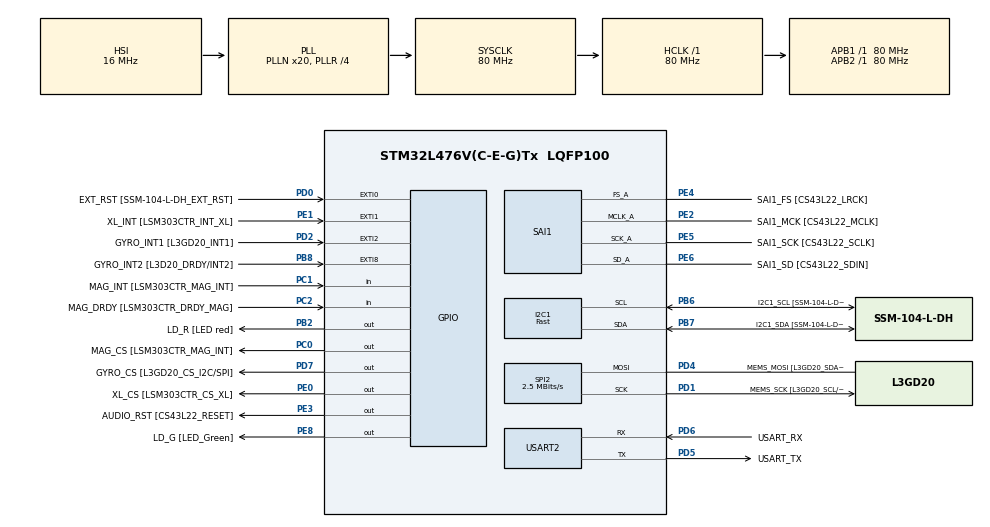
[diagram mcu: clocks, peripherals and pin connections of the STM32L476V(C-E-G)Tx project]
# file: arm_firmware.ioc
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Dma.Request0=SAI1_A
Dma.SAI1_A.0.Direction=DMA_MEMORY_TO_PERIPH
Dma.SAI1_A.0.Instance=DMA2_Channel1
Dma.SAI1_A.0.MemDataAlignment=DMA_MDATAALIGN_HALFWORD
Dma.SAI1_A.0.MemInc=DMA_MINC_ENABLE
Dma.SAI1_A.0.Mode=DMA_NORMAL
Dma.SAI1_A.0.PeriphDataAlignment=DMA_PDATAALIGN_HALFWORD
Dma.SAI1_A.0.PeriphInc=DMA_PINC_DISABLE
Dma.SAI1_A.0.Priority=DMA_PRIORITY_HIGH
I2C1.I2C_Speed_Mode=I2C_Fast
I2C1.Timing=0x00702991
Mcu.Family=STM32L4
Mcu.Name=STM32L476V(C-E-G)Tx
Mcu.Package=LQFP100
NVIC.DMA2_Channel1_IRQn=true\:0\:0\:false\:false\:true\:false
NVIC.PriorityGroup=NVIC_PRIORITYGROUP_4
NVIC.SAI1_IRQn=true\:0\:0\:false\:false\:true\:true
NVIC.USART2_IRQn=true\:0\:0\:false\:false\:true\:true
PA13\ (JTMS-SWDIO).GPIO_Label=SWDIO
PA13\ (JTMS-SWDIO).Mode=Serial_Wire
PA13\ (JTMS-SWDIO).Signal=SYS_JTMS-SWDIO
PA14\ (JTCK-SWCLK).GPIO_Label=SWCLK
PA14\ (JTCK-SWCLK).Mode=Serial_Wire
PA14\ (JTCK-SWCLK).Signal=SYS_JTCK-SWCLK
PB2.GPIO_Label=LD_R [LED red]
PB2.GPIO_ModeDefaultOutputPP=GPIO_MODE_OUTPUT_PP
PB2.GPIO_PuPd=GPIO_PULLUP
PB2.GPIO_Speed=GPIO_SPEED_FREQ_VERY_HIGH
PB2.Signal=GPIO_Output
PB6.GPIO_FM6=__NULL
PB6.GPIO_Label=I2C1_SCL [SSM-104-L-DH_SCL]
PB6.GPIO_Mode=GPIO_MODE_AF_OD
PB6.GPIO_PuPdOD=GPIO_PULLUP
PB6.GPIO_Speed=GPIO_SPEED_FREQ_VERY_HIGH
PB6.Mode=I2C
PB6.Signal=I2C1_SCL
PB7.GPIO_FM7=__NULL
PB7.GPIO_Label=I2C1_SDA [SSM-104-L-DH_SDA]
PB7.GPIO_Mode=GPIO_MODE_AF_OD
PB7.GPIO_PuPdOD=GPIO_PULLUP
PB7.GPIO_Speed=GPIO_SPEED_FREQ_VERY_HIGH
PB7.Mode=I2C
PB7.Signal=I2C1_SDA
PB8.GPIO_Label=GYRO_INT2 [L3D20_DRDY/INT2]
PB8.GPIO_ModeDefaultEXTI=GPIO_MODE_EVT_RISING
PB8.GPIO_PuPd=GPIO_NOPULL
PB8.Signal=GPXTI8
PC0.GPIO_Label=MAG_CS [LSM303CTR_MAG_INT]
PC0.GPIO_Speed=GPIO_SPEED_FREQ_VERY_HIGH
PC0.PinState=GPIO_PIN_SET
PC0.Signal=GPIO_Output
PC1.GPIO_Label=MAG_INT [LSM303CTR_MAG_INT]
PC1.GPIO_Mode=GPIO_MODE_INPUT
PC1.GPIO_PuPd=GPIO_NOPULL
PC1.Signal=GPIO_Input
PC2.GPIO_Label=MAG_DRDY [LSM303CTR_DRDY_MAG]
PC2.GPIO_Mode=GPIO_MODE_INPUT
PC2.GPIO_PuPd=GPIO_NOPULL
PC2.Signal=GPIO_Input
PD0.GPIO_Label=EXT_RST [SSM-104-L-DH_EXT_RST]
PD0.GPIO_ModeDefaultEXTI=GPIO_MODE_EVT_RISING
PD0.GPIO_PuPd=GPIO_NOPULL
PD0.Signal=GPXTI0
PD1.GPIO_Label=MEMS_SCK [L3GD20_SCL/SPC]
PD1.GPIO_Mode=GPIO_MODE_AF_PP
PD1.GPIO_PuPd=GPIO_NOPULL
PD1.GPIO_Speed=GPIO_SPEED_FREQ_VERY_HIGH
PD1.Mode=Simplex_Bidirectional_Master
PD1.Signal=SPI2_SCK
PD2.GPIO_Label=GYRO_INT1 [L3GD20_INT1]
PD2.GPIO_ModeDefaultEXTI=GPIO_MODE_EVT_RISING
PD2.GPIO_PuPd=GPIO_NOPULL
PD2.Signal=GPXTI2
PD3.GPIO_Label=MEMS_MISO [L3GD20_SA0/SDO]
PD3.GPIO_Mode=GPIO_MODE_AF_PP
PD3.GPIO_PuPd=GPIO_NOPULL
PD3.GPIO_Speed=GPIO_SPEED_FREQ_VERY_HIGH
PD3.Signal=SPI2_MISO
PD4.GPIO_Label=MEMS_MOSI [L3GD20_SDA/SDI/SDO]
PD4.GPIO_Mode=GPIO_MODE_AF_PP
PD4.GPIO_PuPd=GPIO_NOPULL
PD4.GPIO_Speed=GPIO_SPEED_FREQ_VERY_HIGH
PD4.Mode=Simplex_Bidirectional_Master
PD4.Signal=SPI2_MOSI
PD5.GPIO_Label=USART_TX
PD5.GPIO_Mode=GPIO_MODE_AF_PP
PD5.GPIO_PuPd=GPIO_PULLUP
PD5.GPIO_Speed=GPIO_SPEED_FREQ_VERY_HIGH
PD5.Mode=Asynchronous
PD5.Signal=USART2_TX
PD6.GPIO_Label=USART_RX
PD6.GPIO_Mode=GPIO_MODE_AF_PP
PD6.GPIO_PuPd=GPIO_PULLUP
PD6.GPIO_Speed=GPIO_SPEED_FREQ_VERY_HIGH
PD6.Mode=Asynchronous
PD6.Signal=USART2_RX
PD7.GPIO_Label=GYRO_CS [L3GD20_CS_I2C/SPI]
PD7.GPIO_ModeDefaultOutputPP=GPIO_MODE_OUTPUT_PP
PD7.GPIO_PuPd=GPIO_NOPULL
PD7.GPIO_Speed=GPIO_SPEED_FREQ_VERY_HIGH
PD7.PinState=GPIO_PIN_SET
PD7.Signal=GPIO_Output
PE0.GPIO_Label=XL_CS [LSM303CTR_CS_XL]
PE0.GPIO_ModeDefaultOutputPP=GPIO_MODE_OUTPUT_PP
PE0.GPIO_PuPd=GPIO_NOPULL
PE0.GPIO_Speed=GPIO_SPEED_FREQ_VERY_HIGH
PE0.PinState=GPIO_PIN_SET
PE0.Signal=GPIO_Output
PE1.GPIO_Label=XL_INT [LSM303CTR_INT_XL]
PE1.GPIO_ModeDefaultEXTI=GPIO_MODE_EVT_RISING
PE1.GPIO_PuPd=GPIO_NOPULL
PE1.Signal=GPXTI1
PE2.GPIO_Label=SAI1_MCK [CS43L22_MCLK]
PE2.GPIO_Mode=GPIO_MODE_AF_PP
PE2.GPIO_PuPd=GPIO_NOPULL
PE2.GPIO_Speed=GPIO_SPEED_FREQ_VERY_HIGH
PE2.Mode=SAI_A_MasterWithClock
PE2.Signal=SAI1_MCLK_A
PE3.GPIO_Label=AUDIO_RST [CS43L22_RESET]
PE3.GPIO_ModeDefaultOutputPP=GPIO_MODE_OUTPUT_PP
PE3.GPIO_PuPd=GPIO_NOPULL
PE3.GPIO_Speed=GPIO_SPEED_FREQ_HIGH
PE3.Signal=GPIO_Output
PE4.GPIO_Label=SAI1_FS [CS43L22_LRCK]
PE4.GPIO_Mode=GPIO_MODE_AF_PP
PE4.GPIO_PuPd=GPIO_NOPULL
PE4.GPIO_Speed=GPIO_SPEED_FREQ_VERY_HIGH
PE4.Mode=SAI_A_MasterWithClock
PE4.Signal=SAI1_FS_A
PE5.GPIO_Label=SAI1_SCK [CS43L22_SCLK]
PE5.GPIO_Mode=GPIO_MODE_AF_PP
PE5.GPIO_PuPd=GPIO_NOPULL
PE5.GPIO_Speed=GPIO_SPEED_FREQ_VERY_HIGH
PE5.Mode=SAI_A_MasterWithClock
PE5.Signal=SAI1_SCK_A
PE6.GPIO_Label=SAI1_SD [CS43L22_SDIN]
PE6.GPIO_Mode=GPIO_MODE_AF_PP
PE6.GPIO_PuPd=GPIO_NOPULL
PE6.GPIO_Speed=GPIO_SPEED_FREQ_VERY_HIGH
PE6.Mode=SAI_A_MasterWithClock
PE6.Signal=SAI1_SD_A
PE8.GPIO_Label=LD_G [LED_Green]
PE8.GPIO_ModeDefaultOutputPP=GPIO_MODE_OUTPUT_PP
PE8.GPIO_PuPd=GPIO_PULLUP
PE8.GPIO_Speed=GPIO_SPEED_FREQ_VERY_HIGH
PE8.Signal=GPIO_Output
ProjectManager.HeapSize=0x200
ProjectManager.StackSize=0x400
ProjectManager.TargetToolchain=SW4STM32
RCC.ADCFreq_Value=64000000
RCC.AHBFreq_Value=80000000
RCC.APB1Freq_Value=80000000
RCC.APB1TimFreq_Value=80000000
RCC.APB2Freq_Value=80000000
RCC.APB2TimFreq_Value=80000000
RCC.CortexFreq_Value=80000000
RCC.HCLKFreq_Value=80000000
RCC.HSE_VALUE=8000000
RCC.HSI_VALUE=16000000
RCC.LSE_VALUE=32768
RCC.MSI_VALUE=4000000
RCC.PLLN=20
RCC.PLLR=RCC_PLLR_DIV4
RCC.PLLSourceVirtual=RCC_PLLSOURCE_HSI
RCC.PREFETCH_ENABLE=1
RCC.SYSCLKFreq_VALUE=80000000
RCC.SYSCLKSource=RCC_SYSCLKSOURCE_PLLCLK
RCC.USBFreq_Value=64000000
RCC.VCOOutputFreq_Value=320000000
SAI1.AudioFrequency-SAI_A_MasterWithClock=SAI_AUDIO_FREQUENCY_8K
SAI1.DataSize-SAI_A_MasterWithClock=SAI_DATASIZE_24
SAI1.ErrorAudioFreq-SAI_A_MasterWithClock=11.6 %
SAI1.FrameLength-SAI_A_MasterWithClock=8
SAI1.Instance-SAI_A_MasterWithClock=SAI$Index_Block_A
SAI1.MClockEnable-SAI_A_MasterWithClock=SAI_MASTERCLOCK_ENABLE
SAI1.RealAudioFreq-SAI_A_MasterWithClock=8.928 KHz
SAI1.SlotActive-SAI_A_MasterWithClock=0x0000FFFF
SAI1.SlotSize-SAI_A_MasterWithClock=SAI_SLOTSIZE_DATASIZE
SAI1.Synchro-SAI_A_MasterWithClock=SAI_ASYNCHRONOUS
SAI1.VirtualMode-SAI_A_MasterWithClock=VM_MASTER
SAI1.VirtualSlotActive-SAI_A_MasterWithClock=SAI_SLOTACTIVE_ALL
SAI1.VirtualSlotActive0-SAI_A_MasterWithClock=true
SPI2.BaudRatePrescaler=SPI_BAUDRATEPRESCALER_32
SPI2.CalculateBaudRate=2.5 MBits/s
SPI2.Direction=SPI_DIRECTION_1LINE
SPI2.Mode=SPI_MODE_MASTER
SPI2.VirtualType=VM_MASTER
USART2.VirtualMode-Asynchronous=VM_ASYNC
USART2.WordLength=WORDLENGTH_8B
VP_DFSDM1_VS_IN0.Mode=Parallel_Input_ch0
VP_DFSDM1_VS_IN1.Mode=Parallel_Input_ch1
VP_DFSDM1_VS_IN2.Mode=Parallel_Input_ch2
board=STM32L476G-DISCO

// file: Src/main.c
/**
  ******************************************************************************
  * @file           : main.c
  * @brief          : Main program body
  ******************************************************************************
  ** This notice applies to any and all portions of this file
  * that are not between comment pairs USER CODE BEGIN and
  * USER CODE END. Other portions of this file, whether
  * inserted by the user or by software development tools
  * are owned by their respective copyright owners.
  *
  * COPYRIGHT(c) 2018 STMicroelectronics
  *
  * Redistribution and use in source and binary forms, with or without modification,
  * are permitted provided that the following conditions are met:
  *   1. Redistributions of source code must retain the above copyright notice,
  *      this list of conditions and the following disclaimer.
  *   2. Redistributions in binary form must reproduce the above copyright notice,
  *      this list of conditions and the following disclaimer in the documentation
  *      and/or other materials provided with the distribution.
  *   3. Neither the name of STMicroelectronics nor the names of its contributors
  *      may be used to endorse or promote products derived from this software
  *      without specific prior written permission.
  *
  * THIS SOFTWARE IS PROVIDED BY THE COPYRIGHT HOLDERS AND CONTRIBUTORS "AS IS"
  * AND ANY EXPRESS OR IMPLIED WARRANTIES, INCLUDING, BUT NOT LIMITED TO, THE
  * IMPLIED WARRANTIES OF MERCHANTABILITY AND FITNESS FOR A PARTICULAR PURPOSE ARE
  * DISCLAIMED. IN NO EVENT SHALL THE COPYRIGHT HOLDER OR CONTRIBUTORS BE LIABLE
  * FOR ANY DIRECT, INDIRECT, INCIDENTAL, SPECIAL, EXEMPLARY, OR CONSEQUENTIAL
  * DAMAGES (INCLUDING, BUT NOT LIMITED TO, PROCUREMENT OF SUBSTITUTE GOODS OR
  * SERVICES; LOSS OF USE, DATA, OR PROFITS; OR BUSINESS INTERRUPTION) HOWEVER
  * CAUSED AND ON ANY THEORY OF LIABILITY, WHETHER IN CONTRACT, STRICT LIABILITY,
  * OR TORT (INCLUDING NEGLIGENCE OR OTHERWISE) ARISING IN ANY WAY OUT OF THE USE
  * OF THIS SOFTWARE, EVEN IF ADVISED OF THE POSSIBILITY OF SUCH DAMAGE.
  *
  ******************************************************************************
  */
#include "main.h"
#include "stm32l4xx_hal.h"
#include "dfsdm.h"
#include "dma.h"
#include "i2c.h"
#include "sai.h"
#include "spi.h"
#include "usart.h"
#include "gpio.h"

/* USER CODE BEGIN Includes */
#include "gyros.h"
#include "accel.h"

#include "stm32l476g_discovery_gyroscope.h"
#include "stm32l476g_discovery_compass.h"
#include "stm32l476g_discovery_audio.h"

#include "math.h"
#include "sample.h"

#define BASE_FREQ 400.0f
/* USER CODE END Includes */

/* USER CODE BEGIN PV */
/* Private variables ---------------------------------------------------------*/
uint8_t Received[10];
int32_t RemainingAudioSamplesNb;
volatile uint16_t * frameData, *genData;
uint16_t buffor1[800], buffor2[800];
volatile float cc = 0.0;
volatile uint8_t audioFlag = 0;

/* USER CODE END PV */

void SystemClock_Config(void);

/* USER CODE BEGIN PFP */
/* Private function prototypes -----------------------------------------------*/
void AudioPlay_TransferComplete_CallBack() {
	if (audioFlag == 1) {
		if (frameData == buffor1) {
			frameData = buffor2;
		} else {
			frameData = buffor1;
		}
		audioFlag = 0;
	}

//	if(cc > 2.0){
//				frameData = light_saber_sample_move;
//
//			}else{
//				frameData = light_saber_sample_idle;
//
//			}

	if (BSP_AUDIO_OUT_Play(frameData, RemainingAudioSamplesNb) != AUDIO_OK) {
		HAL_GPIO_WritePin(LD_R_GPIO_Port, LD_R_Pin, SET);
		Error_Handler();
	} else {
		HAL_GPIO_TogglePin(LD_G_GPIO_Port, LD_G_Pin);
	}

}
void AudioPlay_Error_CallBack(void) {
	/* Stop the program with an infinite loop */
	HAL_GPIO_WritePin(LD_R_GPIO_Port, LD_R_Pin, SET);
	Error_Handler();
}

/* USER CODE END PFP */

int main(void)
{
  /* USER CODE BEGIN 1 */
	float sampleRate = 8000.0; // hertz
	float freq = BASE_FREQ;         // hertz
	float duration = 0.1;       // seconds

	/* Gyroscope variables */
	uint8_t message[100], characters_count;
	int16_t buffer[3];
	float x, y, z;
	float nSamples = (duration * sampleRate);
	uint16_t i;
	uint8_t wiadom[100];
	uint8_t char_count;
	int16_t buffa[3] = { 0 };
	float buffg[3] = { 0 };
	float xa, ya, za, va = 0.0, xaa = 0.0, yaa = 0.0, zaa = 0.0;
	float xg, yg, zg;
	uint32_t interval = 0, prev = 0, current = 0;

	frameData = buffor1;
	//frameData = light_saber_sample;
  /* USER CODE END 1 */

  /* MCU Configuration----------------------------------------------------------*/

  /* Reset of all peripherals, Initializes the Flash interface and the Systick. */
  HAL_Init();

  /* Configure the system clock */
  SystemClock_Config();

  /* Initialize all configured peripherals */
  MX_GPIO_Init();
  MX_DMA_Init();
  MX_SAI1_Init();
  MX_I2C1_Init();
  MX_SPI2_Init();
  MX_USART2_UART_Init();
  MX_DFSDM1_Init();
  /* USER CODE BEGIN 2 */
	HAL_GPIO_WritePin(LD_G_GPIO_Port, LD_G_Pin, RESET);
	HAL_GPIO_WritePin(LD_R_GPIO_Port, LD_R_Pin, RESET);

	for (i = 0; i < (uint32_t) nSamples; ++i) {
		buffor1[i] = (uint16_t) ((sin(
				freq * (float) i * 6.28 / sampleRate) + 1.0) * 32000);
	}

	if (ZYROS_Init() != Zyros_ok) {
		HAL_GPIO_WritePin(LD_R_GPIO_Port, LD_R_Pin, SET);
		/* Initialization Error */
		Error_Handler();
	}

	if (AKCEL_Init() != Akcel_ok) {
		HAL_GPIO_WritePin(LD_R_GPIO_Port, LD_R_Pin, SET);
		/* Initialization Error */
		Error_Handler();
	}

	RemainingAudioSamplesNb = 800; //sizeof(light_saber_sample)/sizeof(uint16_t); //1600;//(uint32_t)nSamples;
	HAL_GPIO_WritePin(LD_R_GPIO_Port, LD_R_Pin, RESET);
	if (BSP_AUDIO_OUT_Init(OUTPUT_DEVICE_HEADPHONE, 60, 8000) != AUDIO_OK) {
		HAL_GPIO_WritePin(LD_R_GPIO_Port, LD_R_Pin, SET);
		Error_Handler();       //dajemy sygnal error
	}

	BSP_AUDIO_OUT_RegisterCallbacks(AudioPlay_Error_CallBack,
	NULL, AudioPlay_TransferComplete_CallBack);

	if (BSP_AUDIO_OUT_Play(frameData, RemainingAudioSamplesNb) != AUDIO_OK) {
		HAL_GPIO_WritePin(LD_R_GPIO_Port, LD_R_Pin, SET);

		Error_Handler();
	}

  /* USER CODE END 2 */

  /* Infinite loop */
	while (1) {

  /* USER CODE BEGIN 3 */
		AKCEL_GetXYZ(buffa);
		xa = ((float) buffa[0] /4096.0);
		ya = ((float) buffa[1] /4096.0);
		za = ((float) buffa[2] /4096.0);

		char_count = sprintf((char *) wiadom, "Xa: %f Ya: %f Za: %f\n", xa, ya,
				za);
		HAL_UART_Transmit(&huart2, wiadom, char_count, 0xFFFF);

		ZYROS_GetXYZ(buffg);
		xg = ((float) buffg[0] * 0.244 / 1000.0);
		yg = ((float) buffg[1] * 0.244 / 1000.0);
		zg = ((float) buffg[2] * 0.244 / 1000.0);

		char_count = sprintf((char *) wiadom, "Xg: %f Yg: %f Zg: %f\n", xg, yg,
				zg);
		HAL_UART_Transmit(&huart2, wiadom, char_count, 0xFFFF);

		current = HAL_GetTick();
					interval = current - prev;
					prev = current;
		xaa += xa * ((float)interval / 1000.0);
		yaa += ya * ((float)interval/ 1000.0);
		zaa += za * ((float)interval/ 1000.0);
		va = sqrt(xaa*xaa + yaa*yaa + zaa*zaa);
		char_count = sprintf((char *) wiadom, "V: %f\n", va);
				HAL_UART_Transmit(&huart2, wiadom, char_count, 0xFFFF);

				if(audioFlag == 0){
					freq = (340.0/(340.0-va)*BASE_FREQ);
					char_count = sprintf((char *) wiadom, "f: %f\n", freq);
									HAL_UART_Transmit(&huart2, wiadom, char_count, 0xFFFF);
					if(frameData == buffor1){
						genData = buffor2;
					}else{
						genData = buffor1;
					}
					for(i=0; i<nSamples; ++i ){
					          genData[i] = (uint16_t)((sin(freq*(float)i*6.28/sampleRate)+1.0)*32000);

					      }
					audioFlag = 1;
		}

		//cc = sqrt(xa*xa+ya*ya+za*za);

	}
  /* USER CODE END 3 */

}

void SystemClock_Config(void)
{

  RCC_OscInitTypeDef RCC_OscInitStruct;
  RCC_ClkInitTypeDef RCC_ClkInitStruct;
  RCC_PeriphCLKInitTypeDef PeriphClkInit;

    /**Initializes the CPU, AHB and APB busses clocks
    */
  RCC_OscInitStruct.OscillatorType = RCC_OSCILLATORTYPE_HSI;
  RCC_OscInitStruct.HSIState = RCC_HSI_ON;
  RCC_OscInitStruct.HSICalibrationValue = 16;
  RCC_OscInitStruct.PLL.PLLState = RCC_PLL_ON;
  RCC_OscInitStruct.PLL.PLLSource = RCC_PLLSOURCE_HSI;
  RCC_OscInitStruct.PLL.PLLN = 20;
  RCC_OscInitStruct.PLL.PLLP = RCC_PLLP_DIV7;
  RCC_OscInitStruct.PLL.PLLQ = RCC_PLLQ_DIV2;
  RCC_OscInitStruct.PLL.PLLR = RCC_PLLR_DIV4;
  if (HAL_RCC_OscConfig(&RCC_OscInitStruct) != HAL_OK)
  {
    _Error_Handler(__FILE__, __LINE__);
  }

    /**Initializes the CPU, AHB and APB busses clocks
    */
  RCC_ClkInitStruct.ClockType = RCC_CLOCKTYPE_HCLK|RCC_CLOCKTYPE_SYSCLK
                              |RCC_CLOCKTYPE_PCLK1|RCC_CLOCKTYPE_PCLK2;
  RCC_ClkInitStruct.SYSCLKSource = RCC_SYSCLKSOURCE_PLLCLK;
  RCC_ClkInitStruct.AHBCLKDivider = RCC_SYSCLK_DIV1;
  RCC_ClkInitStruct.APB1CLKDivider = RCC_HCLK_DIV1;
  RCC_ClkInitStruct.APB2CLKDivider = RCC_HCLK_DIV1;

  if (HAL_RCC_ClockConfig(&RCC_ClkInitStruct, FLASH_LATENCY_4) != HAL_OK)
  {
    _Error_Handler(__FILE__, __LINE__);
  }

  PeriphClkInit.PeriphClockSelection = RCC_PERIPHCLK_USART2|RCC_PERIPHCLK_SAI1
                              |RCC_PERIPHCLK_I2C1|RCC_PERIPHCLK_DFSDM1;
  PeriphClkInit.Usart2ClockSelection = RCC_USART2CLKSOURCE_PCLK1;
  PeriphClkInit.I2c1ClockSelection = RCC_I2C1CLKSOURCE_PCLK1;
  PeriphClkInit.Sai1ClockSelection = RCC_SAI1CLKSOURCE_PLLSAI1;
  PeriphClkInit.Dfsdm1ClockSelection = RCC_DFSDM1CLKSOURCE_PCLK;
  PeriphClkInit.PLLSAI1.PLLSAI1Source = RCC_PLLSOURCE_HSI;
  PeriphClkInit.PLLSAI1.PLLSAI1M = 1;
  PeriphClkInit.PLLSAI1.PLLSAI1N = 8;
  PeriphClkInit.PLLSAI1.PLLSAI1P = RCC_PLLP_DIV7;
  PeriphClkInit.PLLSAI1.PLLSAI1Q = RCC_PLLQ_DIV2;
  PeriphClkInit.PLLSAI1.PLLSAI1R = RCC_PLLR_DIV2;
  PeriphClkInit.PLLSAI1.PLLSAI1ClockOut = RCC_PLLSAI1_SAI1CLK;
  if (HAL_RCCEx_PeriphCLKConfig(&PeriphClkInit) != HAL_OK)
  {
    _Error_Handler(__FILE__, __LINE__);
  }

    /**Configure the main internal regulator output voltage
    */
  if (HAL_PWREx_ControlVoltageScaling(PWR_REGULATOR_VOLTAGE_SCALE1) != HAL_OK)
  {
    _Error_Handler(__FILE__, __LINE__);
  }

    /**Configure the Systick interrupt time
    */
  HAL_SYSTICK_Config(HAL_RCC_GetHCLKFreq()/1000);

    /**Configure the Systick
    */
  HAL_SYSTICK_CLKSourceConfig(SYSTICK_CLKSOURCE_HCLK);

  /* SysTick_IRQn interrupt configuration */
  HAL_NVIC_SetPriority(SysTick_IRQn, 0, 0);
}

/* USER CODE BEGIN 4 */

/**
 * @brief  Convert value to display string
 * @param  None
 * @retval None
 */

/* USER CODE END 4 */

void _Error_Handler(char *file, int line)
{
	while (1) {
	}
}

/************************ (C) COPYRIGHT STMicroelectronics *****END OF FILE****/
